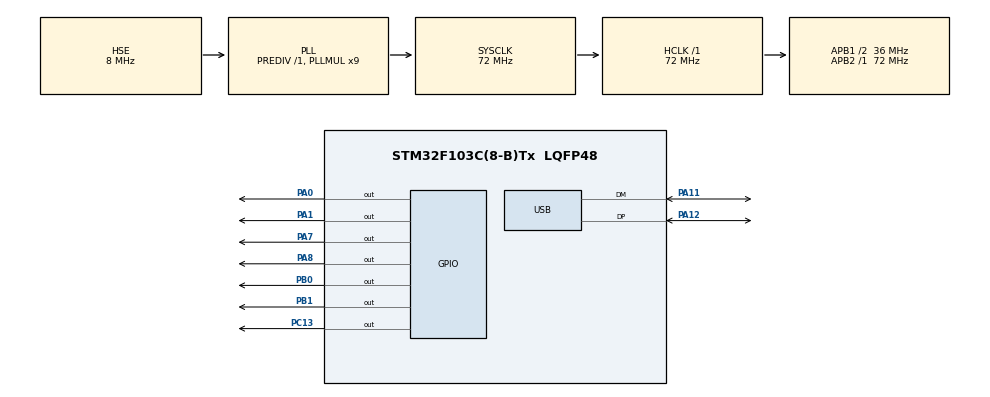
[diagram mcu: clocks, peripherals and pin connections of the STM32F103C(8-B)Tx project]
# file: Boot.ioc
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Mcu.Family=STM32F1
Mcu.Name=STM32F103C(8-B)Tx
Mcu.Package=LQFP48
NVIC.PriorityGroup=NVIC_PRIORITYGROUP_4
NVIC.USB_LP_CAN1_RX0_IRQn=true\:0\:0\:false\:false\:true\:false\:true\:true
PA0-WKUP.Signal=GPIO_Output
PA1.Signal=GPIO_Output
PA11.Mode=Device
PA11.Signal=USB_DM
PA12.Mode=Device
PA12.Signal=USB_DP
PA13.Mode=Serial_Wire
PA13.Signal=SYS_JTMS-SWDIO
PA14.Mode=Serial_Wire
PA14.Signal=SYS_JTCK-SWCLK
PA7.Signal=GPIO_Output
PA8.Signal=GPIO_Output
PB0.Signal=GPIO_Output
PB1.Signal=GPIO_Output
PC13-TAMPER-RTC.Signal=GPIO_Output
PC14-OSC32_IN.Mode=LSE-External-Oscillator
PC14-OSC32_IN.Signal=RCC_OSC32_IN
PC15-OSC32_OUT.Mode=LSE-External-Oscillator
PC15-OSC32_OUT.Signal=RCC_OSC32_OUT
PD0-OSC_IN.Mode=HSE-External-Oscillator
PD0-OSC_IN.Signal=RCC_OSC_IN
PD1-OSC_OUT.Mode=HSE-External-Oscillator
PD1-OSC_OUT.Signal=RCC_OSC_OUT
ProjectManager.HeapSize=0x200
ProjectManager.StackSize=0x400
ProjectManager.TargetToolchain=MDK-ARM V5.32
RCC.AHBFreq_Value=72000000
RCC.APB1CLKDivider=RCC_HCLK_DIV2
RCC.APB1Freq_Value=36000000
RCC.APB1TimFreq_Value=72000000
RCC.APB2Freq_Value=72000000
RCC.APB2TimFreq_Value=72000000
RCC.HCLKFreq_Value=72000000
RCC.PLLMUL=RCC_PLL_MUL9
RCC.SYSCLKFreq_VALUE=72000000
RCC.SYSCLKSource=RCC_SYSCLKSOURCE_PLLCLK
RCC.USBFreq_Value=48000000
RCC.USBPrescaler=RCC_USBCLKSOURCE_PLL_DIV1_5
USB_DEVICE.CLASS_NAME_FS=CUSTOM_HID
USB_DEVICE.CUSTOM_HID_FS_BINTERVAL=1
USB_DEVICE.PID_CUSTOMHID_FS=22332
USB_DEVICE.USBD_CUSTOMHID_OUTREPORT_BUF_SIZE=64
USB_DEVICE.USBD_CUSTOM_HID_REPORT_DESC_SIZE=34
USB_DEVICE.VID=1122
USB_DEVICE.VirtualMode=CustomHid
USB_DEVICE.VirtualModeFS=Custom_Hid_FS
VP_USB_DEVICE_VS_USB_DEVICE_CUSTOM_HID_FS.Mode=CUSTOM_HID_FS
board=custom

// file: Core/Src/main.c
/* USER CODE BEGIN Header */
/**
  ******************************************************************************
  * @file           : main.c
  * @brief          : Main program body
  ******************************************************************************
  * @attention
  *
  * Copyright (c) 2023 STMicroelectronics.
  * All rights reserved.
  *
  * This software is licensed under terms that can be found in the LICENSE file
  * in the root directory of this software component.
  * If no LICENSE file comes with this software, it is provided AS-IS.
  *
  ******************************************************************************
  */
/* USER CODE END Header */
#include "main.h"
#include "usb_device.h"

/* USER CODE BEGIN Includes */
#include "lib_boot.h"
/* USER CODE END Includes */

void SystemClock_Config(void);
static void MX_GPIO_Init(void);

/* USER CODE BEGIN 0 */
TYPE_APP_ID APP_ID;
TYPE_APP_ERASE APP_ERASE;
TYPE_APP_WRITE APP_WRITE;
TYPE_APP_SPEED_TEST APP_SPEED_TEST;
TYPE_APP_JAMP_TO APP_JAMP_TO;

//3164E0987AE5835758D8422BF940ACB1
const uint32_t BOOT_KEY0 __attribute__((section(".ARM.__at_0x0800FFEC"))) = 0x10300000U;
const uint32_t BOOT_KEY1 __attribute__((section(".ARM.__at_0x0800FFF0"))) = 0x7AE58357U;
const uint32_t BOOT_KEY2 __attribute__((section(".ARM.__at_0x0800FFF4"))) = 0x58D8422BU;
const uint32_t BOOT_KEY3 __attribute__((section(".ARM.__at_0x0800FFF8"))) = 0xF940ACB1U;
const uint32_t BOOT_VER_F __attribute__((section(".ARM.__at_0x0800FFFC"))) = 78U;

uint32_t APP_ID_F; // В main читаем ячейку
/* USER CODE END 0 */

int main(void)
{
  /* USER CODE BEGIN 1 */
SetVector(BOOT_ADDRESS);
//	if((*(__IO uint32_t*) 0x0800BFE8) == 0xFFFFFFF0U) { JumpToApplication(0x800C000); };

  /* USER CODE END 1 */

  /* MCU Configuration--------------------------------------------------------*/

  /* Reset of all peripherals, Initializes the Flash interface and the Systick. */
  HAL_Init();

  /* Configure the system clock */
  SystemClock_Config();

  /* Initialize all configured peripherals */
  MX_GPIO_Init();
  MX_USB_DEVICE_Init();
  /* USER CODE BEGIN 2 */
	HAL_GPIO_WritePin(GPIOA, GPIO_PIN_1, GPIO_PIN_RESET); // Сбросим Подсветку
	HAL_GPIO_WritePin(GPIOA, GPIO_PIN_2, GPIO_PIN_RESET);	// Сбросим Лазер

	HAL_GPIO_WritePin(GPIOB, GPIO_PIN_0, GPIO_PIN_RESET); // Сбросим DIR ось Y
	HAL_GPIO_WritePin(GPIOB, GPIO_PIN_1, GPIO_PIN_RESET);	// Сбросим STEP ось Y
	HAL_GPIO_WritePin(GPIOA, GPIO_PIN_7, GPIO_PIN_RESET); // Сбросим ENABLE ось Y

//	HAL_GPIO_WritePin(GPIOA, GPIO_PIN_8, GPIO_PIN_RESET);
	HAL_Delay(2000);
	HAL_GPIO_WritePin(GPIOA, GPIO_PIN_8, GPIO_PIN_SET);

  /* USER CODE END 2 */

  /* Infinite loop */
  while (1)
  {

    /* USER CODE BEGIN 3 */

//	HAL_Delay(100);
//	HAL_GPIO_WritePin(GPIOC, GPIO_PIN_13, GPIO_PIN_SET);
//	HAL_Delay(100);

  }
  /* USER CODE END 3 */
}

void SystemClock_Config(void)
{
  RCC_OscInitTypeDef RCC_OscInitStruct = {0};
  RCC_ClkInitTypeDef RCC_ClkInitStruct = {0};
  RCC_PeriphCLKInitTypeDef PeriphClkInit = {0};

  /** Initializes the RCC Oscillators according to the specified parameters
  * in the RCC_OscInitTypeDef structure.
  */
  RCC_OscInitStruct.OscillatorType = RCC_OSCILLATORTYPE_HSE;
  RCC_OscInitStruct.HSEState = RCC_HSE_ON;
  RCC_OscInitStruct.HSEPredivValue = RCC_HSE_PREDIV_DIV1;
  RCC_OscInitStruct.HSIState = RCC_HSI_ON;
  RCC_OscInitStruct.PLL.PLLState = RCC_PLL_ON;
  RCC_OscInitStruct.PLL.PLLSource = RCC_PLLSOURCE_HSE;
  RCC_OscInitStruct.PLL.PLLMUL = RCC_PLL_MUL9;
  if (HAL_RCC_OscConfig(&RCC_OscInitStruct) != HAL_OK)
  {
    Error_Handler();
  }

  /** Initializes the CPU, AHB and APB buses clocks
  */
  RCC_ClkInitStruct.ClockType = RCC_CLOCKTYPE_HCLK|RCC_CLOCKTYPE_SYSCLK
                              |RCC_CLOCKTYPE_PCLK1|RCC_CLOCKTYPE_PCLK2;
  RCC_ClkInitStruct.SYSCLKSource = RCC_SYSCLKSOURCE_PLLCLK;
  RCC_ClkInitStruct.AHBCLKDivider = RCC_SYSCLK_DIV1;
  RCC_ClkInitStruct.APB1CLKDivider = RCC_HCLK_DIV2;
  RCC_ClkInitStruct.APB2CLKDivider = RCC_HCLK_DIV1;

  if (HAL_RCC_ClockConfig(&RCC_ClkInitStruct, FLASH_LATENCY_2) != HAL_OK)
  {
    Error_Handler();
  }
  PeriphClkInit.PeriphClockSelection = RCC_PERIPHCLK_USB;
  PeriphClkInit.UsbClockSelection = RCC_USBCLKSOURCE_PLL_DIV1_5;
  if (HAL_RCCEx_PeriphCLKConfig(&PeriphClkInit) != HAL_OK)
  {
    Error_Handler();
  }
}

static void MX_GPIO_Init(void)
{
  GPIO_InitTypeDef GPIO_InitStruct = {0};

  /* GPIO Ports Clock Enable */
  __HAL_RCC_GPIOC_CLK_ENABLE();
  __HAL_RCC_GPIOD_CLK_ENABLE();
  __HAL_RCC_GPIOA_CLK_ENABLE();
  __HAL_RCC_GPIOB_CLK_ENABLE();

  /*Configure GPIO pin Output Level */
  HAL_GPIO_WritePin(GPIOC, GPIO_PIN_13, GPIO_PIN_RESET);

  /*Configure GPIO pin Output Level */
  HAL_GPIO_WritePin(GPIOA, GPIO_PIN_0|GPIO_PIN_1|GPIO_PIN_7|GPIO_PIN_8, GPIO_PIN_RESET);

  /*Configure GPIO pin Output Level */
  HAL_GPIO_WritePin(GPIOB, GPIO_PIN_0|GPIO_PIN_1, GPIO_PIN_RESET);

  /*Configure GPIO pin : PC13 */
  GPIO_InitStruct.Pin = GPIO_PIN_13;
  GPIO_InitStruct.Mode = GPIO_MODE_OUTPUT_PP;
  GPIO_InitStruct.Pull = GPIO_NOPULL;
  GPIO_InitStruct.Speed = GPIO_SPEED_FREQ_LOW;
  HAL_GPIO_Init(GPIOC, &GPIO_InitStruct);

  /*Configure GPIO pins : PA0 PA1 PA7 PA8 */
  GPIO_InitStruct.Pin = GPIO_PIN_0|GPIO_PIN_1|GPIO_PIN_7|GPIO_PIN_8;
  GPIO_InitStruct.Mode = GPIO_MODE_OUTPUT_PP;
  GPIO_InitStruct.Pull = GPIO_NOPULL;
  GPIO_InitStruct.Speed = GPIO_SPEED_FREQ_LOW;
  HAL_GPIO_Init(GPIOA, &GPIO_InitStruct);

  /*Configure GPIO pins : PB0 PB1 */
  GPIO_InitStruct.Pin = GPIO_PIN_0|GPIO_PIN_1;
  GPIO_InitStruct.Mode = GPIO_MODE_OUTPUT_PP;
  GPIO_InitStruct.Pull = GPIO_NOPULL;
  GPIO_InitStruct.Speed = GPIO_SPEED_FREQ_LOW;
  HAL_GPIO_Init(GPIOB, &GPIO_InitStruct);

}

void Error_Handler(void)
{
  __disable_irq();
  while (1)
  {
  }
}
